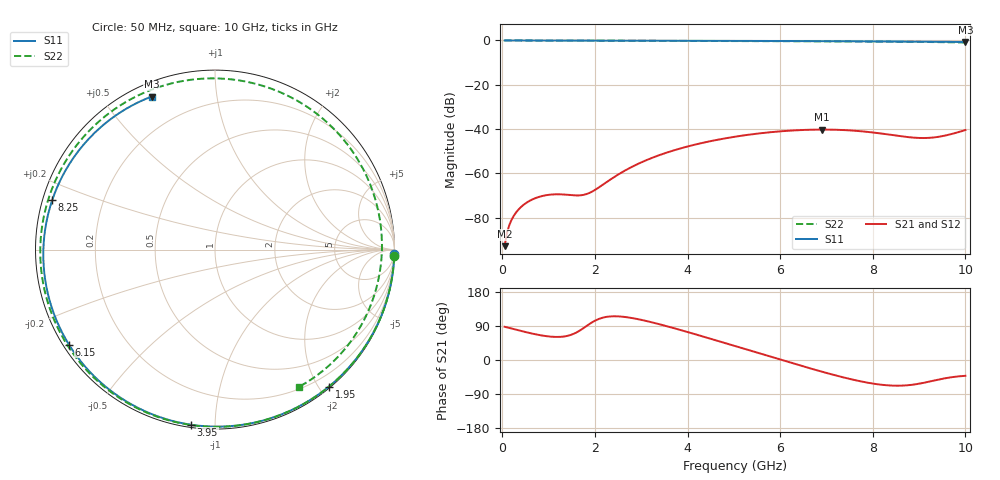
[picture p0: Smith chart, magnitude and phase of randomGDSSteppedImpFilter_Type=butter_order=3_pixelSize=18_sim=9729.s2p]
! freq	dB(S11)	phase(S11)	dB(S12)	phase(S12)
!  dB(S21)	phase(S21)	dB(S22)	phase(S22)
!S-par simulation data
#  GHz  S  DB  R 50
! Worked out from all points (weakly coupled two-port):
!   200 points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, 50 MHz to 10 GHz, reference 50 ohm
!   highest |S21| = -40.21 dB at 6.9 GHz (marker M1); lowest = -92.8 dB at 50 MHz (marker M2)
!   lowest |S11| = -0.7 dB at 10 GHz (marker M3), VSWR 24.92, Z = 2.9 + j33.3 ohm
!   |S11| at or under -10 dB: nowhere
!   |S22| runs from -0.9 to 0.0 dB; largest |S21 - S12| = 0
!   S11 on the Smith chart (normalised r, x): 50 MHz: 1, -85; 1.95 GHz: 0.02, -2.13; 3.95 GHz: 0.01, -0.87; 6.15 GHz: 0.02, -0.30; 8.25 GHz: 0.03, +0.15; 10 GHz: 0.06, +0.67
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0.05  -0.00 -1.3  -92.81 87.6  -92.81 87.6  -0.01 -2.2
0.2  -0.01 -5.3  -80.93 83.2  -80.93 83.2  -0.01 -8.5
0.45  -0.01 -11.8  -74.32 75.3  -74.32 75.3  -0.02 -19.0
0.8  -0.02 -21.0  -70.53 65.9  -70.53 65.9  -0.04 -33.6
1.75  -0.06 -45.2  -69.68 83.8  -69.68 83.8  -0.09 -71.5
1.95  -0.06 -50.2  -68.07 100.2  -68.07 100.2  -0.10 -79.2
2.65  -0.09 -67.4  -58.68 113.5  -58.68 113.5  -0.13 -105.1
3.4  -0.11 -85.2  -51.68 94.1  -51.68 94.1  -0.16 -131.7
3.95  -0.13 -97.8  -48.12 75.6  -48.12 75.6  -0.18 -150.7
4.5  -0.16 -110.3  -45.41 56.0  -45.41 56.0  -0.22 -169.7
5.05  -0.19 -122.5  -43.34 35.9  -43.34 35.9  -0.25 170.9
5.6  -0.22 -134.7  -41.81 15.8  -41.81 15.8  -0.29 150.8
6.15  -0.26 -147.0  -40.78 -4.3  -40.78 -4.3  -0.33 129.4
6.7  -0.30 -159.4  -40.26 -23.9  -40.26 -23.9  -0.38 106.6
6.9  -0.32 -164.0  -40.21 -30.8  -40.21 -30.8  -0.39 97.9
7.55  -0.39 -179.4  -40.64 -51.3  -40.64 -51.3  -0.45 68.0
8.25  -0.46 163.1  -42.17 -66.1  -42.17 -66.1  -0.53 33.4
8.35  -0.48 160.5  -42.46 -67.1  -42.46 -67.1  -0.54 28.3
8.75  -0.53 149.8  -43.58 -66.7  -43.58 -66.7  -0.60 7.6
9.15  -0.58 138.5  -44.00 -58.9  -44.00 -58.9  -0.68 -13.4
9.55  -0.63 126.6  -42.96 -48.5  -42.96 -48.5  -0.79 -34.5
10  -0.70 112.5  -40.41 -41.7  -40.41 -41.7  -0.95 -58.5
